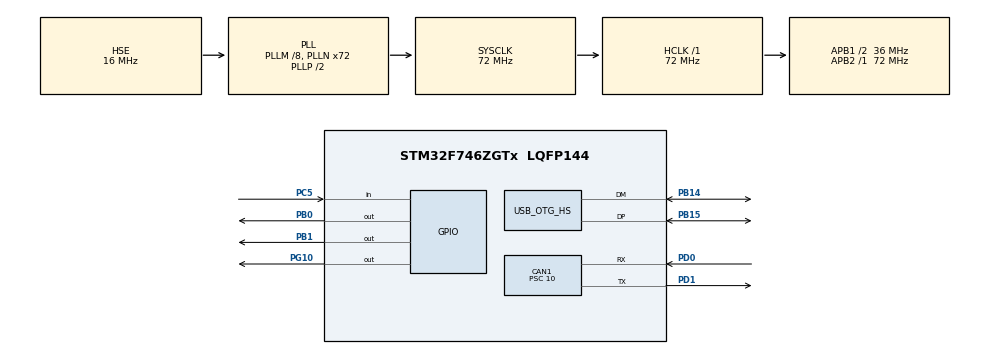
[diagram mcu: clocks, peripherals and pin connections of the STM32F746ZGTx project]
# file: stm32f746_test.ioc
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CAN1.BS1=CAN_BS1_14TQ
CAN1.BS2=CAN_BS2_5TQ
CAN1.CalculateBaudRate=180000
CAN1.CalculateTimeBit=5555
CAN1.CalculateTimeQuantum=277.77777777777777
CAN1.Prescaler=10
Mcu.Family=STM32F7
Mcu.Name=STM32F746ZGTx
Mcu.Package=LQFP144
NVIC.CAN1_RX0_IRQn=true\:0\:0\:false\:false\:true\:true\:true\:true
NVIC.OTG_HS_IRQn=true\:0\:0\:false\:false\:true\:false\:true\:true
NVIC.PriorityGroup=NVIC_PRIORITYGROUP_4
PA13.Mode=Serial_Wire
PA13.Signal=SYS_JTMS-SWDIO
PA14.Mode=Serial_Wire
PA14.Signal=SYS_JTCK-SWCLK
PB0.PinState=GPIO_PIN_SET
PB0.Signal=GPIO_Output
PB1.PinState=GPIO_PIN_SET
PB1.Signal=GPIO_Output
PB14.Mode=Device_Only_FS
PB14.Signal=USB_OTG_HS_DM
PB15.Mode=Device_Only_FS
PB15.Signal=USB_OTG_HS_DP
PC5.Signal=GPIO_Input
PD0.Mode=CAN_Activate
PD0.Signal=CAN1_RX
PD1.Mode=CAN_Activate
PD1.Signal=CAN1_TX
PG10.PinState=GPIO_PIN_SET
PG10.Signal=GPIO_Output
PH0/OSC_IN.Mode=HSE-External-Oscillator
PH0/OSC_IN.Signal=RCC_OSC_IN
PH1/OSC_OUT.Mode=HSE-External-Oscillator
PH1/OSC_OUT.Signal=RCC_OSC_OUT
ProjectManager.HeapSize=0x200
ProjectManager.StackSize=0x400
ProjectManager.TargetToolchain=STM32CubeIDE
RCC.AHBFreq_Value=72000000
RCC.APB1CLKDivider=RCC_HCLK_DIV2
RCC.APB1Freq_Value=36000000
RCC.APB1TimFreq_Value=72000000
RCC.APB2Freq_Value=72000000
RCC.APB2TimFreq_Value=72000000
RCC.CortexFreq_Value=72000000
RCC.HCLKFreq_Value=72000000
RCC.HSE_VALUE=16000000
RCC.HSI_VALUE=16000000
RCC.LSE_VALUE=32768
RCC.PLLM=8
RCC.PLLN=72
RCC.PLLQ=3
RCC.SYSCLKFreq_VALUE=72000000
RCC.SYSCLKSource=RCC_SYSCLKSOURCE_PLLCLK
RCC.USBFreq_Value=48000000
RCC.VCOOutputFreq_Value=144000000
USB_DEVICE.CLASS_NAME_HS=CDC
USB_DEVICE.VirtualMode-CDC_HS=Cdc
USB_DEVICE.VirtualModeHS=Cdc_HS
USB_OTG_HS.VirtualMode-Device_Only_FS=Device_Only_FS
VP_USB_DEVICE_VS_USB_DEVICE_CDC_HS.Mode=CDC_HS
board=custom

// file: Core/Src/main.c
/* USER CODE BEGIN Header */
/**
  ******************************************************************************
  * @file           : main.c
  * @brief          : Main program body
  ******************************************************************************
  * @attention
  *
  * Copyright (c) 2023 STMicroelectronics.
  * All rights reserved.
  *
  * This software is licensed under terms that can be found in the LICENSE file
  * in the root directory of this software component.
  * If no LICENSE file comes with this software, it is provided AS-IS.
  *
  ******************************************************************************
  */
/* USER CODE END Header */
#include "main.h"
#include "usb_device.h"

/* USER CODE BEGIN Includes */
#include "usbd_cdc_if.h"

/* USER CODE END Includes */

CAN_HandleTypeDef hcan1;

void SystemClock_Config(void);
static void MX_GPIO_Init(void);
static void MX_CAN1_Init(void);

/* USER CODE BEGIN 0 */

void print(char *str) {
	CDC_Transmit_HS((uint8_t *)str, strlen(str));
}

CAN_TxHeaderTypeDef   TxHeader;
CAN_RxHeaderTypeDef   RxHeader;
uint8_t               TxData[8];
uint32_t              TxMailbox;
uint8_t               RxData[8];

void HAL_CAN_RxFifo0MsgPendingCallback(CAN_HandleTypeDef *hcan)
{
	HAL_CAN_GetRxMessage(&hcan1, CAN_RX_FIFO0, &RxHeader, RxData);
	HAL_GPIO_TogglePin(GPIOB, GPIO_PIN_1);
//	print(RxData[0]);
}

/* USER CODE END 0 */

int main(void)
{

  /* MCU Configuration--------------------------------------------------------*/

  /* Reset of all peripherals, Initializes the Flash interface and the Systick. */
  HAL_Init();

  /* Configure the system clock */
  SystemClock_Config();

  /* Initialize all configured peripherals */
  MX_GPIO_Init();
  MX_CAN1_Init();
  MX_USB_DEVICE_Init();
  /* USER CODE BEGIN 2 */

  TxHeader.IDE = CAN_ID_STD;
  TxHeader.StdId = 0x446;
  TxHeader.RTR = CAN_RTR_DATA;
  TxHeader.DLC = 2;

  TxData[0] = 50;
  TxData[1] = 0xAA;

  /* USER CODE END 2 */

  /* Infinite loop */
  while (1)
  {

    /* USER CODE BEGIN 3 */

    if (HAL_CAN_AddTxMessage(&hcan1, &TxHeader, TxData, &TxMailbox) != HAL_OK)
    {
	Error_Handler();
    }

	HAL_Delay(1000);
  }
  /* USER CODE END 3 */
}

void SystemClock_Config(void)
{
  RCC_OscInitTypeDef RCC_OscInitStruct = {0};
  RCC_ClkInitTypeDef RCC_ClkInitStruct = {0};

  /** Configure the main internal regulator output voltage
  */
  __HAL_RCC_PWR_CLK_ENABLE();
  __HAL_PWR_VOLTAGESCALING_CONFIG(PWR_REGULATOR_VOLTAGE_SCALE3);

  /** Initializes the RCC Oscillators according to the specified parameters
  * in the RCC_OscInitTypeDef structure.
  */
  RCC_OscInitStruct.OscillatorType = RCC_OSCILLATORTYPE_HSE;
  RCC_OscInitStruct.HSEState = RCC_HSE_ON;
  RCC_OscInitStruct.PLL.PLLState = RCC_PLL_ON;
  RCC_OscInitStruct.PLL.PLLSource = RCC_PLLSOURCE_HSE;
  RCC_OscInitStruct.PLL.PLLM = 8;
  RCC_OscInitStruct.PLL.PLLN = 72;
  RCC_OscInitStruct.PLL.PLLP = RCC_PLLP_DIV2;
  RCC_OscInitStruct.PLL.PLLQ = 3;
  if (HAL_RCC_OscConfig(&RCC_OscInitStruct) != HAL_OK)
  {
    Error_Handler();
  }

  /** Initializes the CPU, AHB and APB buses clocks
  */
  RCC_ClkInitStruct.ClockType = RCC_CLOCKTYPE_HCLK|RCC_CLOCKTYPE_SYSCLK
                              |RCC_CLOCKTYPE_PCLK1|RCC_CLOCKTYPE_PCLK2;
  RCC_ClkInitStruct.SYSCLKSource = RCC_SYSCLKSOURCE_PLLCLK;
  RCC_ClkInitStruct.AHBCLKDivider = RCC_SYSCLK_DIV1;
  RCC_ClkInitStruct.APB1CLKDivider = RCC_HCLK_DIV2;
  RCC_ClkInitStruct.APB2CLKDivider = RCC_HCLK_DIV1;

  if (HAL_RCC_ClockConfig(&RCC_ClkInitStruct, FLASH_LATENCY_2) != HAL_OK)
  {
    Error_Handler();
  }
}

static void MX_CAN1_Init(void)
{

  hcan1.Instance = CAN1;
  hcan1.Init.Prescaler = 10;
  hcan1.Init.Mode = CAN_MODE_NORMAL;
  hcan1.Init.SyncJumpWidth = CAN_SJW_1TQ;
  hcan1.Init.TimeSeg1 = CAN_BS1_14TQ;
  hcan1.Init.TimeSeg2 = CAN_BS2_5TQ;
  hcan1.Init.TimeTriggeredMode = DISABLE;
  hcan1.Init.AutoBusOff = DISABLE;
  hcan1.Init.AutoWakeUp = DISABLE;
  hcan1.Init.AutoRetransmission = DISABLE;
  hcan1.Init.ReceiveFifoLocked = DISABLE;
  hcan1.Init.TransmitFifoPriority = DISABLE;
  if (HAL_CAN_Init(&hcan1) != HAL_OK)
  {
    Error_Handler();
  }
  /* USER CODE BEGIN CAN1_Init 2 */

  /*##-2- Configure the CAN Filter ###########################################*/
  CAN_FilterTypeDef canfilterconfig;

  canfilterconfig.FilterActivation = CAN_FILTER_ENABLE;
  canfilterconfig.FilterBank = 18;  // which filter bank to use from the assigned ones
  canfilterconfig.FilterFIFOAssignment = CAN_FILTER_FIFO0;
  canfilterconfig.FilterIdHigh = 0x446<<5;
  canfilterconfig.FilterIdLow = 0;
  canfilterconfig.FilterMaskIdHigh = 0x446<<5;
  canfilterconfig.FilterMaskIdLow = 0x0000;
  canfilterconfig.FilterMode = CAN_FILTERMODE_IDMASK;
  canfilterconfig.FilterScale = CAN_FILTERSCALE_32BIT;
  canfilterconfig.SlaveStartFilterBank = 20;  // how many filters to assign to the CAN1 (master can)

	if (HAL_CAN_ConfigFilter(&hcan1, &canfilterconfig) != HAL_OK)
	{
	  /* Filter configuration Error */
	  Error_Handler();
	}

	/*##-3- Start the CAN peripheral ###########################################*/
	if (HAL_CAN_Start(&hcan1) != HAL_OK)
	{
	  /* Start Error */
	  Error_Handler();
	}

	/*##-4- Activate CAN RX notification #######################################*/
	if (HAL_CAN_ActivateNotification(&hcan1, CAN_IT_RX_FIFO0_MSG_PENDING) != HAL_OK)
	{
	  /* Notification Error */
	  Error_Handler();
	}

  /* USER CODE END CAN1_Init 2 */

}

static void MX_GPIO_Init(void)
{
  GPIO_InitTypeDef GPIO_InitStruct = {0};

  /* GPIO Ports Clock Enable */
  __HAL_RCC_GPIOH_CLK_ENABLE();
  __HAL_RCC_GPIOC_CLK_ENABLE();
  __HAL_RCC_GPIOB_CLK_ENABLE();
  __HAL_RCC_GPIOA_CLK_ENABLE();
  __HAL_RCC_GPIOD_CLK_ENABLE();
  __HAL_RCC_GPIOG_CLK_ENABLE();

  /*Configure GPIO pin Output Level */
  HAL_GPIO_WritePin(GPIOB, GPIO_PIN_0|GPIO_PIN_1, GPIO_PIN_SET);

  /*Configure GPIO pin Output Level */
  HAL_GPIO_WritePin(GPIOG, GPIO_PIN_10, GPIO_PIN_SET);

  /*Configure GPIO pin : PC5 */
  GPIO_InitStruct.Pin = GPIO_PIN_5;
  GPIO_InitStruct.Mode = GPIO_MODE_INPUT;
  GPIO_InitStruct.Pull = GPIO_NOPULL;
  HAL_GPIO_Init(GPIOC, &GPIO_InitStruct);

  /*Configure GPIO pins : PB0 PB1 */
  GPIO_InitStruct.Pin = GPIO_PIN_0|GPIO_PIN_1;
  GPIO_InitStruct.Mode = GPIO_MODE_OUTPUT_PP;
  GPIO_InitStruct.Pull = GPIO_NOPULL;
  GPIO_InitStruct.Speed = GPIO_SPEED_FREQ_LOW;
  HAL_GPIO_Init(GPIOB, &GPIO_InitStruct);

  /*Configure GPIO pin : PG10 */
  GPIO_InitStruct.Pin = GPIO_PIN_10;
  GPIO_InitStruct.Mode = GPIO_MODE_OUTPUT_PP;
  GPIO_InitStruct.Pull = GPIO_NOPULL;
  GPIO_InitStruct.Speed = GPIO_SPEED_FREQ_LOW;
  HAL_GPIO_Init(GPIOG, &GPIO_InitStruct);

}

void Error_Handler(void)
{
  /* USER CODE BEGIN Error_Handler_Debug */
  /* User can add his own implementation to report the HAL error return state */
  __disable_irq();
  while (1)
  {
	  HAL_GPIO_WritePin(GPIOB, GPIO_PIN_0, 1);
  }
  /* USER CODE END Error_Handler_Debug */
}
